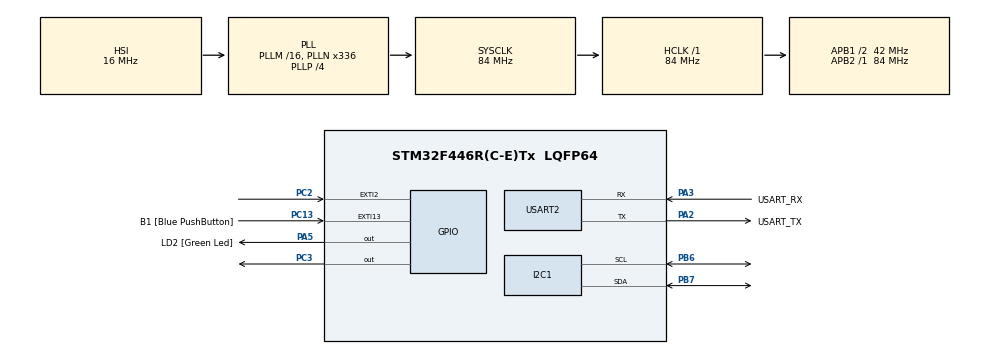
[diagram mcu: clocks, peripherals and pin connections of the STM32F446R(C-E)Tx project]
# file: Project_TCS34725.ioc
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Dma.I2C1_RX.0.Direction=DMA_PERIPH_TO_MEMORY
Dma.I2C1_RX.0.FIFOMode=DMA_FIFOMODE_DISABLE
Dma.I2C1_RX.0.Instance=DMA1_Stream0
Dma.I2C1_RX.0.MemDataAlignment=DMA_MDATAALIGN_BYTE
Dma.I2C1_RX.0.MemInc=DMA_MINC_ENABLE
Dma.I2C1_RX.0.Mode=DMA_NORMAL
Dma.I2C1_RX.0.PeriphDataAlignment=DMA_PDATAALIGN_BYTE
Dma.I2C1_RX.0.PeriphInc=DMA_PINC_DISABLE
Dma.I2C1_RX.0.Priority=DMA_PRIORITY_MEDIUM
Dma.I2C1_TX.1.Direction=DMA_MEMORY_TO_PERIPH
Dma.I2C1_TX.1.FIFOMode=DMA_FIFOMODE_DISABLE
Dma.I2C1_TX.1.Instance=DMA1_Stream6
Dma.I2C1_TX.1.MemDataAlignment=DMA_MDATAALIGN_BYTE
Dma.I2C1_TX.1.MemInc=DMA_MINC_ENABLE
Dma.I2C1_TX.1.Mode=DMA_NORMAL
Dma.I2C1_TX.1.PeriphDataAlignment=DMA_PDATAALIGN_BYTE
Dma.I2C1_TX.1.PeriphInc=DMA_PINC_DISABLE
Dma.I2C1_TX.1.Priority=DMA_PRIORITY_LOW
Dma.Request0=I2C1_RX
Dma.Request1=I2C1_TX
Mcu.Family=STM32F4
Mcu.Name=STM32F446R(C-E)Tx
Mcu.Package=LQFP64
NVIC.DMA1_Stream0_IRQn=true\:0\:0\:false\:false\:true\:false\:true\:true
NVIC.DMA1_Stream6_IRQn=true\:0\:0\:false\:false\:true\:false\:true\:true
NVIC.I2C1_ER_IRQn=true\:0\:0\:false\:false\:true\:true\:true\:true
NVIC.I2C1_EV_IRQn=true\:0\:0\:false\:false\:true\:true\:true\:true
NVIC.PriorityGroup=NVIC_PRIORITYGROUP_0
NVIC.USART2_IRQn=true\:0\:0\:false\:false\:true\:true\:true\:true
PA13.GPIO_Label=TMS
PA13.Mode=Serial_Wire
PA13.Signal=SYS_JTMS-SWDIO
PA14.GPIO_Label=TCK
PA14.Mode=Serial_Wire
PA14.Signal=SYS_JTCK-SWCLK
PA2.GPIO_Label=USART_TX
PA2.Mode=Asynchronous
PA2.Signal=USART2_TX
PA3.GPIO_Label=USART_RX
PA3.Mode=Asynchronous
PA3.Signal=USART2_RX
PA5.GPIO_Label=LD2 [Green Led]
PA5.Signal=GPIO_Output
PB3.GPIO_Label=SWO
PB3.Signal=SYS_JTDO-SWO
PB6.Mode=I2C
PB6.Signal=I2C1_SCL
PB7.Mode=I2C
PB7.Signal=I2C1_SDA
PC13.GPIO_Label=B1 [Blue PushButton]
PC13.GPIO_ModeDefaultEXTI=GPIO_MODE_IT_FALLING
PC13.Signal=GPXTI13
PC14-OSC32_IN.Mode=LSE-External-Oscillator
PC14-OSC32_IN.Signal=RCC_OSC32_IN
PC15-OSC32_OUT.Mode=LSE-External-Oscillator
PC15-OSC32_OUT.Signal=RCC_OSC32_OUT
PC2.GPIO_ModeDefaultEXTI=GPIO_MODE_IT_FALLING
PC2.GPIO_PuPd=GPIO_PULLUP
PC2.Signal=GPXTI2
PC3.Signal=GPIO_Output
PH0-OSC_IN.Mode=HSE-External-Oscillator
PH0-OSC_IN.Signal=RCC_OSC_IN
PH1-OSC_OUT.Mode=HSE-External-Oscillator
PH1-OSC_OUT.Signal=RCC_OSC_OUT
ProjectManager.HeapSize=0x200
ProjectManager.StackSize=0x400
ProjectManager.TargetToolchain=STM32CubeIDE
RCC.48MHZClocksFreq_Value=84000000
RCC.AHBFreq_Value=84000000
RCC.APB1CLKDivider=RCC_HCLK_DIV2
RCC.APB1Freq_Value=42000000
RCC.APB1TimFreq_Value=84000000
RCC.APB2Freq_Value=84000000
RCC.APB2TimFreq_Value=84000000
RCC.CortexFreq_Value=84000000
RCC.FLatency-AdvancedSettings=FLASH_LATENCY_2
RCC.HCLKFreq_Value=84000000
RCC.HSE_VALUE=8000000
RCC.HSI_VALUE=16000000
RCC.PLLN=336
RCC.PLLP=RCC_PLLP_DIV4
RCC.SYSCLKFreq_VALUE=84000000
RCC.SYSCLKSource=RCC_SYSCLKSOURCE_PLLCLK
RCC.USBFreq_Value=168000000
RCC.VCOOutputFreq_Value=336000000
TIM3.Period=9
TIM3.Prescaler=8399
USART2.VirtualMode=VM_ASYNC
VP_TIM3_VS_ClockSourceINT.Mode=Internal
board=NUCLEO-F446RE

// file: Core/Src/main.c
/* USER CODE BEGIN Header */
/**
  ******************************************************************************
  * @file           : main.c
  * @brief          : Main program body
  ******************************************************************************
  * @attention
  *
  * Copyright (c) 2025 STMicroelectronics.
  * All rights reserved.
  *
  * This software is licensed under terms that can be found in the LICENSE file
  * in the root directory of this software component.
  * If no LICENSE file comes with this software, it is provided AS-IS.
  *
  ******************************************************************************
  */
/* USER CODE END Header */
#include "main.h"
#include "dma.h"
#include "i2c.h"
#include "tim.h"
#include "usart.h"
#include "gpio.h"

/* USER CODE BEGIN Includes */
#include "circular_buffer.h"
#include "protocol.h"
#include "tcs34725.h"
#include "i2c.h"
/* USER CODE END Includes */

/* USER CODE BEGIN PV */

volatile uint32_t timer_interval = 1000;
volatile uint32_t timer_counter = 0;

/* USER CODE END PV */

void SystemClock_Config(void);

/* USER CODE BEGIN 0 */

void HAL_UART_TxCpltCallback(UART_HandleTypeDef *huart){
   if(huart==&huart2){
	   if(UART_TX_Empty!=UART_TX_Busy){
		   uint8_t tmp=UART_TxBuf[UART_TX_Busy];
		   UART_TX_Busy++;
		   if(UART_TX_Busy >= UART_TXBUF_LEN)UART_TX_Busy=0;
		   HAL_UART_Transmit_IT(&huart2, &tmp, 1);
	   }
   }
}

void HAL_UART_RxCpltCallback(UART_HandleTypeDef *huart){
	 if(huart==&huart2){
		 UART_RX_Empty++;
		 if(UART_RX_Empty>=UART_RXBUF_LEN)UART_RX_Empty=0;
		 HAL_UART_Receive_IT(&huart2,&UART_RxBuf[UART_RX_Empty],1);

	 }
}

/* USER CODE END 0 */

int main(void)
{

  /* MCU Configuration--------------------------------------------------------*/

  /* Reset of all peripherals, Initializes the Flash interface and the Systick. */
  HAL_Init();

  /* Configure the system clock */
  SystemClock_Config();

  /* Initialize all configured peripherals */
  MX_GPIO_Init();
  MX_DMA_Init();
  MX_USART2_UART_Init();
  MX_I2C1_Init();
  MX_TIM3_Init();

  /* USER CODE BEGIN 2 */
  TCS34725_Init(&hi2c1);
  HAL_UART_Receive_IT(&huart2,&UART_RxBuf[0],1);
  UART_TX_FSend("STM INIT\n");

  /* USER CODE END 2 */

  /* Infinite loop */
  /* USER CODE BEGIN WHILE */
  while (1)
  {
    process_protocol_data();
    TCS34725_HandleLoop(&hi2c1);

    /* USER CODE END WHILE */

  }
}

void SystemClock_Config(void)
{
  RCC_OscInitTypeDef RCC_OscInitStruct = {0};
  RCC_ClkInitTypeDef RCC_ClkInitStruct = {0};

  /** Configure the main internal regulator output voltage
  */
  __HAL_RCC_PWR_CLK_ENABLE();
  __HAL_PWR_VOLTAGESCALING_CONFIG(PWR_REGULATOR_VOLTAGE_SCALE3);

  /** Initializes the RCC Oscillators according to the specified parameters
  * in the RCC_OscInitTypeDef structure.
  */
  RCC_OscInitStruct.OscillatorType = RCC_OSCILLATORTYPE_HSI;
  RCC_OscInitStruct.HSIState = RCC_HSI_ON;
  RCC_OscInitStruct.HSICalibrationValue = RCC_HSICALIBRATION_DEFAULT;
  RCC_OscInitStruct.PLL.PLLState = RCC_PLL_ON;
  RCC_OscInitStruct.PLL.PLLSource = RCC_PLLSOURCE_HSI;
  RCC_OscInitStruct.PLL.PLLM = 16;
  RCC_OscInitStruct.PLL.PLLN = 336;
  RCC_OscInitStruct.PLL.PLLP = RCC_PLLP_DIV4;
  RCC_OscInitStruct.PLL.PLLQ = 2;
  RCC_OscInitStruct.PLL.PLLR = 2;
  if (HAL_RCC_OscConfig(&RCC_OscInitStruct) != HAL_OK)
  {
    Error_Handler();
  }

  /** Initializes the CPU, AHB and APB buses clocks
  */
  RCC_ClkInitStruct.ClockType = RCC_CLOCKTYPE_HCLK|RCC_CLOCKTYPE_SYSCLK
                              |RCC_CLOCKTYPE_PCLK1|RCC_CLOCKTYPE_PCLK2;
  RCC_ClkInitStruct.SYSCLKSource = RCC_SYSCLKSOURCE_PLLCLK;
  RCC_ClkInitStruct.AHBCLKDivider = RCC_SYSCLK_DIV1;
  RCC_ClkInitStruct.APB1CLKDivider = RCC_HCLK_DIV2;
  RCC_ClkInitStruct.APB2CLKDivider = RCC_HCLK_DIV1;

  if (HAL_RCC_ClockConfig(&RCC_ClkInitStruct, FLASH_LATENCY_2) != HAL_OK)
  {
    Error_Handler();
  }
}

/* USER CODE BEGIN 4 */

void HAL_TIM_PeriodElapsedCallback(TIM_HandleTypeDef *htim){
	if(htim->Instance == TIM3){
		timer_counter++;
		if (timer_counter >= timer_interval) {
			TCS34725_Start_DMA_Read(&hi2c1);
			timer_counter=0;
		}
	}
}

/* USER CODE END 4 */

void Error_Handler(void)
{
  __disable_irq();
  while (1)
  {
  }
}
